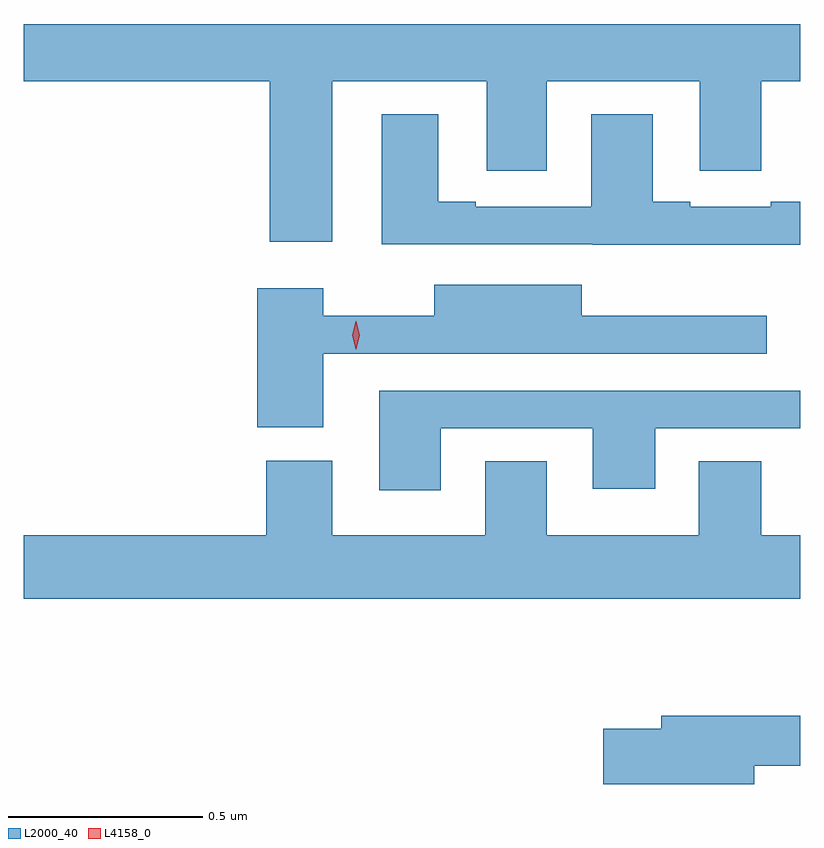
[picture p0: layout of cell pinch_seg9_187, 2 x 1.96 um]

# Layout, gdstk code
import gdstk
lib = gdstk.Library(unit=1e-6, precision=1e-09)
def P(c, l, *ps):  # polygons
    for p in ps: c.add(gdstk.Polygon(p, *l))
L2000_40 = (2000, 40)
L4158_0 = (4158, 0)

pinch_seg9_187 = lib.new_cell('pinch_seg9_187')
P(pinch_seg9_187, L2000_40, [(762.928,1193.756),(763.325,1193.756),(763.325,1193.526),(763.48,1193.526),(763.48,1193.756),(763.874,1193.756),(763.874,1193.526),(764.032,1193.526),(764.032,1193.756),(764.133,1193.756),(764.133,1193.904),(762.133,1193.904),(762.133,1193.756),(762.767,1193.756),(762.767,1193.343),(762.928,1193.343)],
  [(764.133,1193.446),(764.057,1193.446),(764.057,1193.433),(763.849,1193.433),(763.849,1193.446),(763.753,1193.446),(763.753,1193.671),(763.595,1193.671),(763.595,1193.433),(763.297,1193.433),(763.297,1193.446),(763.201,1193.446),(763.201,1193.671),(763.055,1193.671),(763.055,1193.337),(763.599,1193.337),(763.599,1193.336),(764.133,1193.336)],
  [(762.904,1193.055),(764.047,1193.055),(764.047,1193.153),(763.57,1193.153),(763.57,1193.233),(763.19,1193.233),(763.19,1193.153),(762.904,1193.153),(762.904,1193.224),(762.734,1193.224),(762.734,1192.865),(762.904,1192.865)],
  [(763.207,1192.863),(763.598,1192.863),(763.598,1192.707),(763.759,1192.707),(763.759,1192.863),(764.133,1192.863),(764.133,1192.959),(763.049,1192.959),(763.049,1192.704),(763.207,1192.704)],
  [(764.133,1192.588),(764.032,1192.588),(764.032,1192.778),(763.871,1192.778),(763.871,1192.588),(763.48,1192.588),(763.48,1192.778),(763.322,1192.778),(763.322,1192.588),(762.928,1192.588),(762.928,1192.78),(762.758,1192.78),(762.758,1192.588),(762.133,1192.588),(762.133,1192.424),(764.133,1192.424)],
  [(764.014,1191.994),(764.133,1191.994),(764.133,1192.123),(763.775,1192.123),(763.775,1192.089),(763.626,1192.089),(763.626,1191.947),(764.014,1191.947)])
P(pinch_seg9_187, L4158_0, [(762.988,1193.067),(762.979,1193.103),(762.988,1193.139),(762.989,1193.139),(762.989,1193.139),(762.999,1193.103),(762.989,1193.067),(762.989,1193.067)])

lib.write_gds('pinch_seg9_187.gds')
